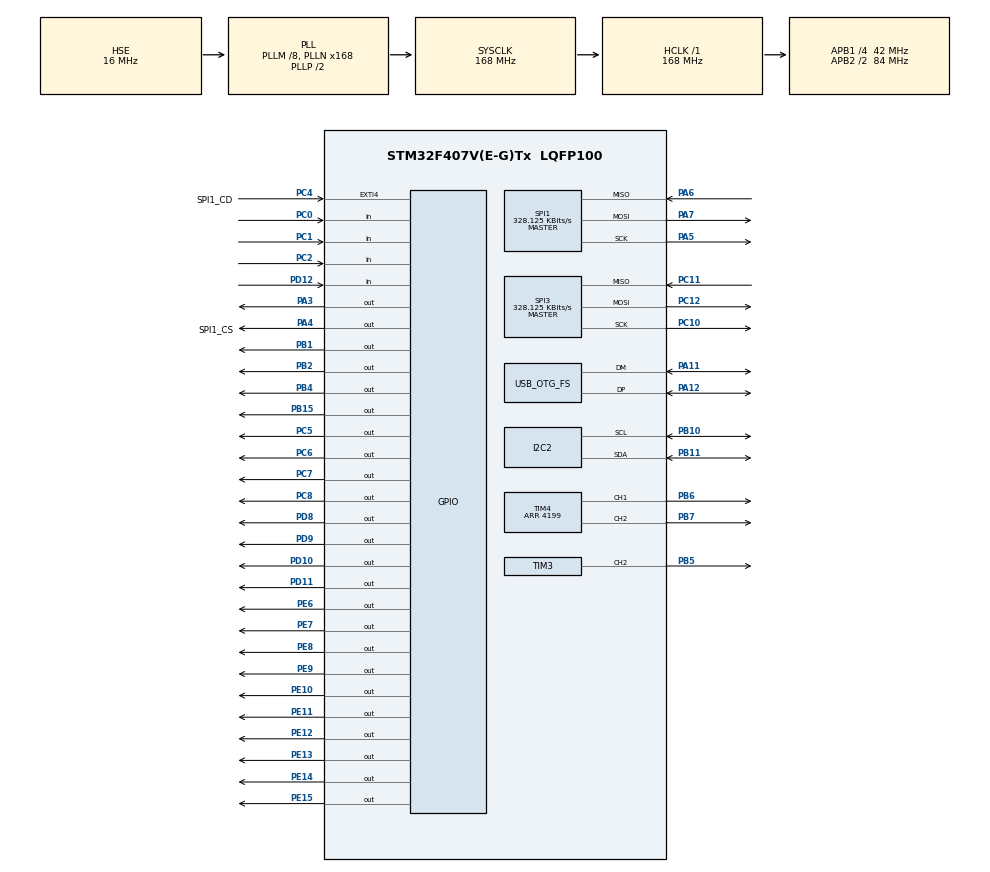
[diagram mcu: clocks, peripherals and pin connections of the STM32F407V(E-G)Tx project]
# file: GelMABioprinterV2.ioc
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FATFS._USE_LFN=1
Mcu.Family=STM32F4
Mcu.Name=STM32F407V(E-G)Tx
Mcu.Package=LQFP100
NVIC.OTG_FS_IRQn=true\:0\:0\:false\:false\:true\:false\:true\:true
NVIC.PriorityGroup=NVIC_PRIORITYGROUP_4
NVIC.TIM1_UP_TIM10_IRQn=true\:0\:0\:false\:false\:true\:true\:true\:true
PA11.Mode=Device_Only
PA11.Signal=USB_OTG_FS_DM
PA12.Mode=Device_Only
PA12.Signal=USB_OTG_FS_DP
PA13.Mode=Serial_Wire
PA13.Signal=SYS_JTMS-SWDIO
PA14.Mode=Serial_Wire
PA14.Signal=SYS_JTCK-SWCLK
PA3.GPIO_Speed=GPIO_SPEED_FREQ_LOW
PA3.Signal=GPIO_Output
PA4.GPIO_Label=SPI1_CS
PA4.GPIO_PuPd=GPIO_PULLUP
PA4.PinState=GPIO_PIN_SET
PA4.Signal=GPIO_Output
PA5.GPIO_PuPd=GPIO_PULLUP
PA5.Mode=Full_Duplex_Master
PA5.Signal=SPI1_SCK
PA6.GPIO_PuPd=GPIO_PULLUP
PA6.Mode=Full_Duplex_Master
PA6.Signal=SPI1_MISO
PA7.GPIO_PuPd=GPIO_PULLUP
PA7.Mode=Full_Duplex_Master
PA7.Signal=SPI1_MOSI
PB1.Signal=GPIO_Output
PB10.Mode=I2C
PB10.Signal=I2C2_SCL
PB11.Mode=I2C
PB11.Signal=I2C2_SDA
PB15.Signal=GPIO_Output
PB2.Signal=GPIO_Output
PB4.Signal=GPIO_Output
PB5.Signal=S_TIM3_CH2
PB6.Signal=S_TIM4_CH1
PB7.Signal=S_TIM4_CH2
PC0.GPIO_PuPd=GPIO_PULLUP
PC0.Signal=GPIO_Input
PC1.GPIO_PuPd=GPIO_PULLUP
PC1.Signal=GPIO_Input
PC10.Mode=Full_Duplex_Master
PC10.Signal=SPI3_SCK
PC11.Mode=Full_Duplex_Master
PC11.Signal=SPI3_MISO
PC12.Mode=Full_Duplex_Master
PC12.Signal=SPI3_MOSI
PC2.GPIO_PuPd=GPIO_PULLUP
PC2.Signal=GPIO_Input
PC4.GPIO_Label=SPI1_CD
PC4.GPIO_ModeDefaultEXTI=GPIO_MODE_IT_RISING_FALLING
PC4.GPIO_PuPd=GPIO_PULLUP
PC4.Signal=GPXTI4
PC5.Signal=GPIO_Output
PC6.PinState=GPIO_PIN_SET
PC6.Signal=GPIO_Output
PC7.PinState=GPIO_PIN_SET
PC7.Signal=GPIO_Output
PC8.Signal=GPIO_Output
PD10.Signal=GPIO_Output
PD11.Signal=GPIO_Output
PD12.GPIO_PuPd=GPIO_PULLUP
PD12.Signal=GPIO_Input
PD8.PinState=GPIO_PIN_SET
PD8.Signal=GPIO_Output
PD9.Signal=GPIO_Output
PE10.Signal=GPIO_Output
PE11.GPIO_Speed=GPIO_SPEED_FREQ_LOW
PE11.Signal=GPIO_Output
PE12.Signal=GPIO_Output
PE13.GPIO_Speed=GPIO_SPEED_FREQ_LOW
PE13.Signal=GPIO_Output
PE14.GPIO_Speed=GPIO_SPEED_FREQ_LOW
PE14.Signal=GPIO_Output
PE15.Signal=GPIO_Output
PE6.GPIO_PuPd=GPIO_NOPULL
PE6.PinState=GPIO_PIN_SET
PE6.Signal=GPIO_Output
PE7.PinState=GPIO_PIN_SET
PE7.Signal=GPIO_Output
PE8.Signal=GPIO_Output
PE9.GPIO_Speed=GPIO_SPEED_FREQ_LOW
PE9.Signal=GPIO_Output
PH0-OSC_IN.Mode=HSE-External-Oscillator
PH0-OSC_IN.Signal=RCC_OSC_IN
PH1-OSC_OUT.Mode=HSE-External-Oscillator
PH1-OSC_OUT.Signal=RCC_OSC_OUT
ProjectManager.HeapSize=0x200
ProjectManager.StackSize=0x400
ProjectManager.TargetToolchain=STM32CubeIDE
RCC.48MHZClocksFreq_Value=48000000
RCC.AHBFreq_Value=168000000
RCC.APB1CLKDivider=RCC_HCLK_DIV4
RCC.APB1Freq_Value=42000000
RCC.APB1TimFreq_Value=84000000
RCC.APB2CLKDivider=RCC_HCLK_DIV2
RCC.APB2Freq_Value=84000000
RCC.APB2TimFreq_Value=168000000
RCC.CortexFreq_Value=168000000
RCC.HCLKFreq_Value=168000000
RCC.HSE_VALUE=16000000
RCC.HSI_VALUE=16000000
RCC.LSE_VALUE=32768
RCC.PLLM=8
RCC.PLLN=168
RCC.PLLQ=7
RCC.SYSCLKFreq_VALUE=168000000
RCC.SYSCLKSource=RCC_SYSCLKSOURCE_PLLCLK
RCC.VCOOutputFreq_Value=336000000
SH.S_TIM3_CH2.0=TIM3_CH2,PWM Generation2 CH2
SH.S_TIM4_CH1.0=TIM4_CH1,PWM Generation1 CH1
SH.S_TIM4_CH2.0=TIM4_CH2,PWM Generation2 CH2
SPI1.BaudRatePrescaler=SPI_BAUDRATEPRESCALER_256
SPI1.CalculateBaudRate=328.125 KBits/s
SPI1.Direction=SPI_DIRECTION_2LINES
SPI1.Mode=SPI_MODE_MASTER
SPI1.VirtualType=VM_MASTER
SPI3.BaudRatePrescaler=SPI_BAUDRATEPRESCALER_128
SPI3.CalculateBaudRate=328.125 KBits/s
SPI3.Direction=SPI_DIRECTION_2LINES
SPI3.Mode=SPI_MODE_MASTER
SPI3.VirtualType=VM_MASTER
TIM1.Period=65535
TIM1.Prescaler=167
TIM2.Period=65535
TIM2.Prescaler=71
TIM3.AutoReloadPreload=TIM_AUTORELOAD_PRELOAD_ENABLE
TIM3.Channel-PWM\ Generation2\ CH2=TIM_CHANNEL_2
TIM3.Period=1999
TIM3.Prescaler=8399
TIM4.AutoReloadPreload=TIM_AUTORELOAD_PRELOAD_ENABLE
TIM4.Channel-PWM\ Generation1\ CH1=TIM_CHANNEL_1
TIM4.Channel-PWM\ Generation2\ CH2=TIM_CHANNEL_2
TIM4.Period=4199
TIM5.Prescaler=83
USB_DEVICE.CLASS_NAME_FS=CDC
USB_DEVICE.VirtualMode-CDC_FS=Cdc
USB_DEVICE.VirtualModeFS=Cdc_FS
USB_OTG_FS.VirtualMode=Device_Only
VP_FATFS_VS_Generic.Mode=User_defined
VP_TIM1_VS_ClockSourceINT.Mode=Internal
VP_TIM2_VS_ClockSourceINT.Mode=Internal
VP_TIM3_VS_ClockSourceINT.Mode=Internal
VP_TIM4_VS_ClockSourceINT.Mode=Internal
VP_TIM5_VS_ClockSourceINT.Mode=Internal
VP_USB_DEVICE_VS_USB_DEVICE_CDC_FS.Mode=CDC_FS
board=custom

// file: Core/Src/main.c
/* USER CODE BEGIN Header */
/**
  ******************************************************************************
  * @file           : main.c
  * @brief          : Main program body
  ******************************************************************************
  * @attention
  *
  * Copyright (c) 2025 STMicroelectronics.
  * All rights reserved.
  *
  * This software is licensed under terms that can be found in the LICENSE file
  * in the root directory of this software component.
  * If no LICENSE file comes with this software, it is provided AS-IS.
  *
  ******************************************************************************
  */
/* USER CODE END Header */
#include "main.h"
#include "fatfs.h"
#include "usb_device.h"

/* USER CODE BEGIN Includes */
#include <math.h>
#include "string.h"
#include <stdarg.h>
#include <stdio.h>
#include "usbd_def.h"
#include "usbd_cdc_if.h"
#include "system_pins.h"
#include "delay_us.h"
#include "stepper.h"
#include "mosfet.h"
/* USER CODE END Includes */

I2C_HandleTypeDef hi2c2;

SPI_HandleTypeDef hspi1;
SPI_HandleTypeDef hspi3;

TIM_HandleTypeDef htim1;
TIM_HandleTypeDef htim2;
TIM_HandleTypeDef htim3;
TIM_HandleTypeDef htim4;
TIM_HandleTypeDef htim5;

/* USER CODE BEGIN PV */

static float setNozTempCmd = 40.0f; // Nozzle set temperature
static float nozDutyCmd = 0.0f;

/* PID variables */
static float pid_Kp = 3.0f;
static float pid_Ki = 0.1f;
static float pid_Kd = 3.0f;

static float pid_integral = 0.0f;
static float pid_prevError = 0.0f;
static uint8_t pid_firstRun = 1;

static uint8_t oneTimeDone = 0;
static float tempsC[8] = {0};
//static uint8_t muxIndex = 0;
//static uint32_t lastTempKickMs = 0;
static uint32_t lastUsbTxMs = 0;
static uint32_t lastPwmUpdateMs = 0;

// SD card variables
static FATFS   s_fs;                   // filesystem object
static FIL     s_file;                 // open CSV
static uint8_t s_sdReady = 0;          // 0=not mounted/opened yet
static uint8_t s_headerSkipped = 0;
static uint32_t s_lastSDms = 0;        // throttle
static char    s_line[160];            // one CSV line buffer
static uint8_t s_havePendingLine = 0;
static char s_pendingLine[160];
uint8_t rx_buf[2];
uint8_t tx_buf[2] = {0x00, 0x00};   // dummy bytes to generate clock
char msg[100];
/* USER CODE END PV */

void SystemClock_Config(void);
static void MX_GPIO_Init(void);
static void MX_TIM1_Init(void);
static void MX_TIM2_Init(void);
static void MX_SPI1_Init(void);
static void MX_TIM3_Init(void);
static void MX_TIM4_Init(void);
static void MX_I2C2_Init(void);
static void MX_TIM5_Init(void);
static void MX_SPI3_Init(void);
/* USER CODE BEGIN PFP */
void Home(TIM_HandleTypeDef *htim_for_delay);
static void Task_Once_StorageInit(void);
static void USB_Printf(const char *fmt, ...);
static void Task_PIDandStreamUSB(void);
static void Task_ReadSD(void);
static void Task_UpdatePWMs(void);
uint16_t MAX6675_ReadRaw(void);
float MAX6675_ReadTemp(void);
void SystemTasks(void);
/* USER CODE END PFP */

int main(void)
{

  /* MCU Configuration--------------------------------------------------------*/

  /* Reset of all peripherals, Initializes the Flash interface and the Systick. */
  HAL_Init();

  /* Configure the system clock */
  SystemClock_Config();

  /* Initialize all configured peripherals */
  MX_GPIO_Init();
  MX_TIM1_Init();
  MX_USB_DEVICE_Init();
  MX_TIM2_Init();
  MX_SPI1_Init();
  MX_FATFS_Init();
  MX_TIM3_Init();
  MX_TIM4_Init();
  MX_I2C2_Init();
  MX_TIM5_Init();
  MX_SPI3_Init();
  /* USER CODE BEGIN 2 */
  HAL_GPIO_WritePin(PELTIER_GPIO_Port, PELTIER_GPIO_Pin, GPIO_PIN_SET); // Give the bed time to cool

  extern TIM_HandleTypeDef htim5;
  Home(&htim5);

  // Start the stepper ISR scheduler on TIM1
  Stepper_Init_TIM1();
  Stepper_ResetPosition(0,0,0,0);
  //Stepper_QueueAbs(135, 190.5, -98.5, 0, 30 );// The iteratively solved bed center
  //Stepper_QueueAbs(210, 270, -90, 0, 40 );
  //Stepper_QueueAbs(210, 270, -90, 10, 2 );
  //Stepper_QueueAbs(210,0,0,31,40);

  Mosfet_Init();
  HAL_GPIO_WritePin(PELTIER_GPIO_Port, PELTIER_GPIO_Pin, GPIO_PIN_SET); // Give the bed time to cool
  HAL_TIM_Base_Start(&htim2);
  /* USER CODE END 2 */

  /* Infinite loop */
  /* USER CODE BEGIN WHILE */
  //HAL_GPIO_WritePin(SSPORT, SSPIN, GPIO_PIN_SET);
  while (1)
  {
	SystemTasks();
    /* USER CODE END WHILE */

  }
}

void SystemClock_Config(void)
{
  RCC_OscInitTypeDef RCC_OscInitStruct = {0};
  RCC_ClkInitTypeDef RCC_ClkInitStruct = {0};

  /** Configure the main internal regulator output voltage
  */
  __HAL_RCC_PWR_CLK_ENABLE();
  __HAL_PWR_VOLTAGESCALING_CONFIG(PWR_REGULATOR_VOLTAGE_SCALE1);

  /** Initializes the RCC Oscillators according to the specified parameters
  * in the RCC_OscInitTypeDef structure.
  */
  RCC_OscInitStruct.OscillatorType = RCC_OSCILLATORTYPE_HSE;
  RCC_OscInitStruct.HSEState = RCC_HSE_ON;
  RCC_OscInitStruct.PLL.PLLState = RCC_PLL_ON;
  RCC_OscInitStruct.PLL.PLLSource = RCC_PLLSOURCE_HSE;
  RCC_OscInitStruct.PLL.PLLM = 8;
  RCC_OscInitStruct.PLL.PLLN = 168;
  RCC_OscInitStruct.PLL.PLLP = RCC_PLLP_DIV2;
  RCC_OscInitStruct.PLL.PLLQ = 7;
  if (HAL_RCC_OscConfig(&RCC_OscInitStruct) != HAL_OK)
  {
    Error_Handler();
  }

  /** Initializes the CPU, AHB and APB buses clocks
  */
  RCC_ClkInitStruct.ClockType = RCC_CLOCKTYPE_HCLK|RCC_CLOCKTYPE_SYSCLK
                              |RCC_CLOCKTYPE_PCLK1|RCC_CLOCKTYPE_PCLK2;
  RCC_ClkInitStruct.SYSCLKSource = RCC_SYSCLKSOURCE_PLLCLK;
  RCC_ClkInitStruct.AHBCLKDivider = RCC_SYSCLK_DIV1;
  RCC_ClkInitStruct.APB1CLKDivider = RCC_HCLK_DIV4;
  RCC_ClkInitStruct.APB2CLKDivider = RCC_HCLK_DIV2;

  if (HAL_RCC_ClockConfig(&RCC_ClkInitStruct, FLASH_LATENCY_5) != HAL_OK)
  {
    Error_Handler();
  }
}

static void MX_I2C2_Init(void)
{

  hi2c2.Instance = I2C2;
  hi2c2.Init.ClockSpeed = 100000;
  hi2c2.Init.DutyCycle = I2C_DUTYCYCLE_2;
  hi2c2.Init.OwnAddress1 = 0;
  hi2c2.Init.AddressingMode = I2C_ADDRESSINGMODE_7BIT;
  hi2c2.Init.DualAddressMode = I2C_DUALADDRESS_DISABLE;
  hi2c2.Init.OwnAddress2 = 0;
  hi2c2.Init.GeneralCallMode = I2C_GENERALCALL_DISABLE;
  hi2c2.Init.NoStretchMode = I2C_NOSTRETCH_DISABLE;
  if (HAL_I2C_Init(&hi2c2) != HAL_OK)
  {
    Error_Handler();
  }

}

static void MX_SPI1_Init(void)
{

  /* SPI1 parameter configuration*/
  hspi1.Instance = SPI1;
  hspi1.Init.Mode = SPI_MODE_MASTER;
  hspi1.Init.Direction = SPI_DIRECTION_2LINES;
  hspi1.Init.DataSize = SPI_DATASIZE_8BIT;
  hspi1.Init.CLKPolarity = SPI_POLARITY_LOW;
  hspi1.Init.CLKPhase = SPI_PHASE_1EDGE;
  hspi1.Init.NSS = SPI_NSS_SOFT;
  hspi1.Init.BaudRatePrescaler = SPI_BAUDRATEPRESCALER_256;
  hspi1.Init.FirstBit = SPI_FIRSTBIT_MSB;
  hspi1.Init.TIMode = SPI_TIMODE_DISABLE;
  hspi1.Init.CRCCalculation = SPI_CRCCALCULATION_DISABLE;
  hspi1.Init.CRCPolynomial = 10;
  if (HAL_SPI_Init(&hspi1) != HAL_OK)
  {
    Error_Handler();
  }

}

static void MX_SPI3_Init(void)
{

  /* SPI3 parameter configuration*/
  hspi3.Instance = SPI3;
  hspi3.Init.Mode = SPI_MODE_MASTER;
  hspi3.Init.Direction = SPI_DIRECTION_2LINES;
  hspi3.Init.DataSize = SPI_DATASIZE_8BIT;
  hspi3.Init.CLKPolarity = SPI_POLARITY_LOW;
  hspi3.Init.CLKPhase = SPI_PHASE_1EDGE;
  hspi3.Init.NSS = SPI_NSS_SOFT;
  hspi3.Init.BaudRatePrescaler = SPI_BAUDRATEPRESCALER_128;
  hspi3.Init.FirstBit = SPI_FIRSTBIT_MSB;
  hspi3.Init.TIMode = SPI_TIMODE_DISABLE;
  hspi3.Init.CRCCalculation = SPI_CRCCALCULATION_DISABLE;
  hspi3.Init.CRCPolynomial = 10;
  if (HAL_SPI_Init(&hspi3) != HAL_OK)
  {
    Error_Handler();
  }

}

static void MX_TIM1_Init(void)
{

  TIM_ClockConfigTypeDef sClockSourceConfig = {0};
  TIM_MasterConfigTypeDef sMasterConfig = {0};

  htim1.Instance = TIM1;
  htim1.Init.Prescaler = 167;
  htim1.Init.CounterMode = TIM_COUNTERMODE_UP;
  htim1.Init.Period = 65535;
  htim1.Init.ClockDivision = TIM_CLOCKDIVISION_DIV1;
  htim1.Init.RepetitionCounter = 0;
  htim1.Init.AutoReloadPreload = TIM_AUTORELOAD_PRELOAD_DISABLE;
  if (HAL_TIM_Base_Init(&htim1) != HAL_OK)
  {
    Error_Handler();
  }
  sClockSourceConfig.ClockSource = TIM_CLOCKSOURCE_INTERNAL;
  if (HAL_TIM_ConfigClockSource(&htim1, &sClockSourceConfig) != HAL_OK)
  {
    Error_Handler();
  }
  sMasterConfig.MasterOutputTrigger = TIM_TRGO_RESET;
  sMasterConfig.MasterSlaveMode = TIM_MASTERSLAVEMODE_DISABLE;
  if (HAL_TIMEx_MasterConfigSynchronization(&htim1, &sMasterConfig) != HAL_OK)
  {
    Error_Handler();
  }

}

static void MX_TIM2_Init(void)
{

  TIM_ClockConfigTypeDef sClockSourceConfig = {0};
  TIM_MasterConfigTypeDef sMasterConfig = {0};

  htim2.Instance = TIM2;
  htim2.Init.Prescaler = 71;
  htim2.Init.CounterMode = TIM_COUNTERMODE_UP;
  htim2.Init.Period = 65535;
  htim2.Init.ClockDivision = TIM_CLOCKDIVISION_DIV1;
  htim2.Init.AutoReloadPreload = TIM_AUTORELOAD_PRELOAD_DISABLE;
  if (HAL_TIM_Base_Init(&htim2) != HAL_OK)
  {
    Error_Handler();
  }
  sClockSourceConfig.ClockSource = TIM_CLOCKSOURCE_INTERNAL;
  if (HAL_TIM_ConfigClockSource(&htim2, &sClockSourceConfig) != HAL_OK)
  {
    Error_Handler();
  }
  sMasterConfig.MasterOutputTrigger = TIM_TRGO_RESET;
  sMasterConfig.MasterSlaveMode = TIM_MASTERSLAVEMODE_DISABLE;
  if (HAL_TIMEx_MasterConfigSynchronization(&htim2, &sMasterConfig) != HAL_OK)
  {
    Error_Handler();
  }

}

static void MX_TIM3_Init(void)
{

  TIM_ClockConfigTypeDef sClockSourceConfig = {0};
  TIM_MasterConfigTypeDef sMasterConfig = {0};
  TIM_OC_InitTypeDef sConfigOC = {0};

  htim3.Instance = TIM3;
  htim3.Init.Prescaler = 8399;
  htim3.Init.CounterMode = TIM_COUNTERMODE_UP;
  htim3.Init.Period = 1999;
  htim3.Init.ClockDivision = TIM_CLOCKDIVISION_DIV1;
  htim3.Init.AutoReloadPreload = TIM_AUTORELOAD_PRELOAD_ENABLE;
  if (HAL_TIM_Base_Init(&htim3) != HAL_OK)
  {
    Error_Handler();
  }
  sClockSourceConfig.ClockSource = TIM_CLOCKSOURCE_INTERNAL;
  if (HAL_TIM_ConfigClockSource(&htim3, &sClockSourceConfig) != HAL_OK)
  {
    Error_Handler();
  }
  if (HAL_TIM_PWM_Init(&htim3) != HAL_OK)
  {
    Error_Handler();
  }
  sMasterConfig.MasterOutputTrigger = TIM_TRGO_RESET;
  sMasterConfig.MasterSlaveMode = TIM_MASTERSLAVEMODE_DISABLE;
  if (HAL_TIMEx_MasterConfigSynchronization(&htim3, &sMasterConfig) != HAL_OK)
  {
    Error_Handler();
  }
  sConfigOC.OCMode = TIM_OCMODE_PWM1;
  sConfigOC.Pulse = 0;
  sConfigOC.OCPolarity = TIM_OCPOLARITY_HIGH;
  sConfigOC.OCFastMode = TIM_OCFAST_DISABLE;
  if (HAL_TIM_PWM_ConfigChannel(&htim3, &sConfigOC, TIM_CHANNEL_2) != HAL_OK)
  {
    Error_Handler();
  }
  HAL_TIM_MspPostInit(&htim3);

}

static void MX_TIM4_Init(void)
{

  TIM_ClockConfigTypeDef sClockSourceConfig = {0};
  TIM_MasterConfigTypeDef sMasterConfig = {0};
  TIM_OC_InitTypeDef sConfigOC = {0};

  htim4.Instance = TIM4;
  htim4.Init.Prescaler = 0;
  htim4.Init.CounterMode = TIM_COUNTERMODE_UP;
  htim4.Init.Period = 4199;
  htim4.Init.ClockDivision = TIM_CLOCKDIVISION_DIV1;
  htim4.Init.AutoReloadPreload = TIM_AUTORELOAD_PRELOAD_ENABLE;
  if (HAL_TIM_Base_Init(&htim4) != HAL_OK)
  {
    Error_Handler();
  }
  sClockSourceConfig.ClockSource = TIM_CLOCKSOURCE_INTERNAL;
  if (HAL_TIM_ConfigClockSource(&htim4, &sClockSourceConfig) != HAL_OK)
  {
    Error_Handler();
  }
  if (HAL_TIM_PWM_Init(&htim4) != HAL_OK)
  {
    Error_Handler();
  }
  sMasterConfig.MasterOutputTrigger = TIM_TRGO_RESET;
  sMasterConfig.MasterSlaveMode = TIM_MASTERSLAVEMODE_DISABLE;
  if (HAL_TIMEx_MasterConfigSynchronization(&htim4, &sMasterConfig) != HAL_OK)
  {
    Error_Handler();
  }
  sConfigOC.OCMode = TIM_OCMODE_PWM1;
  sConfigOC.Pulse = 0;
  sConfigOC.OCPolarity = TIM_OCPOLARITY_HIGH;
  sConfigOC.OCFastMode = TIM_OCFAST_DISABLE;
  if (HAL_TIM_PWM_ConfigChannel(&htim4, &sConfigOC, TIM_CHANNEL_1) != HAL_OK)
  {
    Error_Handler();
  }
  if (HAL_TIM_PWM_ConfigChannel(&htim4, &sConfigOC, TIM_CHANNEL_2) != HAL_OK)
  {
    Error_Handler();
  }
  HAL_TIM_MspPostInit(&htim4);

}

static void MX_TIM5_Init(void)
{

  TIM_ClockConfigTypeDef sClockSourceConfig = {0};
  TIM_MasterConfigTypeDef sMasterConfig = {0};

  htim5.Instance = TIM5;
  htim5.Init.Prescaler = 83;
  htim5.Init.CounterMode = TIM_COUNTERMODE_UP;
  htim5.Init.Period = 4294967295;
  htim5.Init.ClockDivision = TIM_CLOCKDIVISION_DIV1;
  htim5.Init.AutoReloadPreload = TIM_AUTORELOAD_PRELOAD_DISABLE;
  if (HAL_TIM_Base_Init(&htim5) != HAL_OK)
  {
    Error_Handler();
  }
  sClockSourceConfig.ClockSource = TIM_CLOCKSOURCE_INTERNAL;
  if (HAL_TIM_ConfigClockSource(&htim5, &sClockSourceConfig) != HAL_OK)
  {
    Error_Handler();
  }
  sMasterConfig.MasterOutputTrigger = TIM_TRGO_RESET;
  sMasterConfig.MasterSlaveMode = TIM_MASTERSLAVEMODE_DISABLE;
  if (HAL_TIMEx_MasterConfigSynchronization(&htim5, &sMasterConfig) != HAL_OK)
  {
    Error_Handler();
  }

}

static void MX_GPIO_Init(void)
{
  GPIO_InitTypeDef GPIO_InitStruct = {0};

  /* GPIO Ports Clock Enable */
  __HAL_RCC_GPIOE_CLK_ENABLE();
  __HAL_RCC_GPIOH_CLK_ENABLE();
  __HAL_RCC_GPIOC_CLK_ENABLE();
  __HAL_RCC_GPIOA_CLK_ENABLE();
  __HAL_RCC_GPIOB_CLK_ENABLE();
  __HAL_RCC_GPIOD_CLK_ENABLE();

  /*Configure GPIO pin Output Level */
  HAL_GPIO_WritePin(GPIOE, GPIO_PIN_6|GPIO_PIN_7, GPIO_PIN_SET);

  /*Configure GPIO pin Output Level */
  HAL_GPIO_WritePin(GPIOA, GPIO_PIN_3, GPIO_PIN_RESET);

  /*Configure GPIO pin Output Level */
  HAL_GPIO_WritePin(SPI1_CS_GPIO_Port, SPI1_CS_Pin, GPIO_PIN_SET);

  /*Configure GPIO pin Output Level */
  HAL_GPIO_WritePin(GPIOC, GPIO_PIN_5|GPIO_PIN_8, GPIO_PIN_RESET);

  /*Configure GPIO pin Output Level */
  HAL_GPIO_WritePin(GPIOB, GPIO_PIN_1|GPIO_PIN_2|GPIO_PIN_15|GPIO_PIN_4, GPIO_PIN_RESET);

  /*Configure GPIO pin Output Level */
  HAL_GPIO_WritePin(GPIOE, GPIO_PIN_8|GPIO_PIN_9|GPIO_PIN_10|GPIO_PIN_11
                          |GPIO_PIN_12|GPIO_PIN_13|GPIO_PIN_14|GPIO_PIN_15, GPIO_PIN_RESET);

  /*Configure GPIO pin Output Level */
  HAL_GPIO_WritePin(GPIOD, GPIO_PIN_8, GPIO_PIN_SET);

  /*Configure GPIO pin Output Level */
  HAL_GPIO_WritePin(GPIOD, GPIO_PIN_9|GPIO_PIN_10|GPIO_PIN_11, GPIO_PIN_RESET);

  /*Configure GPIO pin Output Level */
  HAL_GPIO_WritePin(GPIOC, GPIO_PIN_6|GPIO_PIN_7, GPIO_PIN_SET);

  /*Configure GPIO pins : PE6 PE7 PE8 PE9
                           PE10 PE11 PE12 PE13
                           PE14 PE15 */
  GPIO_InitStruct.Pin = GPIO_PIN_6|GPIO_PIN_7|GPIO_PIN_8|GPIO_PIN_9
                          |GPIO_PIN_10|GPIO_PIN_11|GPIO_PIN_12|GPIO_PIN_13
                          |GPIO_PIN_14|GPIO_PIN_15;
  GPIO_InitStruct.Mode = GPIO_MODE_OUTPUT_PP;
  GPIO_InitStruct.Pull = GPIO_NOPULL;
  GPIO_InitStruct.Speed = GPIO_SPEED_FREQ_LOW;
  HAL_GPIO_Init(GPIOE, &GPIO_InitStruct);

  /*Configure GPIO pins : PC0 PC1 PC2 */
  GPIO_InitStruct.Pin = GPIO_PIN_0|GPIO_PIN_1|GPIO_PIN_2;
  GPIO_InitStruct.Mode = GPIO_MODE_INPUT;
  GPIO_InitStruct.Pull = GPIO_PULLUP;
  HAL_GPIO_Init(GPIOC, &GPIO_InitStruct);

  /*Configure GPIO pin : PA3 */
  GPIO_InitStruct.Pin = GPIO_PIN_3;
  GPIO_InitStruct.Mode = GPIO_MODE_OUTPUT_PP;
  GPIO_InitStruct.Pull = GPIO_NOPULL;
  GPIO_InitStruct.Speed = GPIO_SPEED_FREQ_LOW;
  HAL_GPIO_Init(GPIOA, &GPIO_InitStruct);

  /*Configure GPIO pin : SPI1_CS_Pin */
  GPIO_InitStruct.Pin = SPI1_CS_Pin;
  GPIO_InitStruct.Mode = GPIO_MODE_OUTPUT_PP;
  GPIO_InitStruct.Pull = GPIO_PULLUP;
  GPIO_InitStruct.Speed = GPIO_SPEED_FREQ_LOW;
  HAL_GPIO_Init(SPI1_CS_GPIO_Port, &GPIO_InitStruct);

  /*Configure GPIO pin : SPI1_CD_Pin */
  GPIO_InitStruct.Pin = SPI1_CD_Pin;
  GPIO_InitStruct.Mode = GPIO_MODE_IT_RISING_FALLING;
  GPIO_InitStruct.Pull = GPIO_PULLUP;
  HAL_GPIO_Init(SPI1_CD_GPIO_Port, &GPIO_InitStruct);

  /*Configure GPIO pins : PC5 PC6 PC7 PC8 */
  GPIO_InitStruct.Pin = GPIO_PIN_5|GPIO_PIN_6|GPIO_PIN_7|GPIO_PIN_8;
  GPIO_InitStruct.Mode = GPIO_MODE_OUTPUT_PP;
  GPIO_InitStruct.Pull = GPIO_NOPULL;
  GPIO_InitStruct.Speed = GPIO_SPEED_FREQ_LOW;
  HAL_GPIO_Init(GPIOC, &GPIO_InitStruct);

  /*Configure GPIO pins : PB1 PB2 PB15 PB4 */
  GPIO_InitStruct.Pin = GPIO_PIN_1|GPIO_PIN_2|GPIO_PIN_15|GPIO_PIN_4;
  GPIO_InitStruct.Mode = GPIO_MODE_OUTPUT_PP;
  GPIO_InitStruct.Pull = GPIO_NOPULL;
  GPIO_InitStruct.Speed = GPIO_SPEED_FREQ_LOW;
  HAL_GPIO_Init(GPIOB, &GPIO_InitStruct);

  /*Configure GPIO pins : PD8 PD9 PD10 PD11 */
  GPIO_InitStruct.Pin = GPIO_PIN_8|GPIO_PIN_9|GPIO_PIN_10|GPIO_PIN_11;
  GPIO_InitStruct.Mode = GPIO_MODE_OUTPUT_PP;
  GPIO_InitStruct.Pull = GPIO_NOPULL;
  GPIO_InitStruct.Speed = GPIO_SPEED_FREQ_LOW;
  HAL_GPIO_Init(GPIOD, &GPIO_InitStruct);

  /*Configure GPIO pin : PD12 */
  GPIO_InitStruct.Pin = GPIO_PIN_12;
  GPIO_InitStruct.Mode = GPIO_MODE_INPUT;
  GPIO_InitStruct.Pull = GPIO_PULLUP;
  HAL_GPIO_Init(GPIOD, &GPIO_InitStruct);

}

/* USER CODE BEGIN 4 */
// Homing function
void Home(TIM_HandleTypeDef *htim_for_delay){
    const uint32_t pulse_high_us = 5;    // >1 µs is required by A4988 datasheet
    const uint32_t z_between_us  = 150;  // 16 Microsteps + TR8x8 lead screw => 16.13 mm/s
    const uint32_t y_between_us  = 1390; // 16 Microsteps + GT2 36T belt     => 16.13 mm/s
    const uint32_t x_between_us  = 770;  // 16 Microsteps + GT2 20T belt     => 16.13 mm/s

    delay_us_init(htim_for_delay); 						    // pass &htim from main.c
    HAL_GPIO_WritePin(EN_Port, EN_Pin, GPIO_PIN_RESET);     // Enable outputs (LOW = enabled)
    HAL_GPIO_WritePin(SLEEP_Port, SLEEP_Pin, GPIO_PIN_SET); //release reset (HIGH)
    HAL_GPIO_WritePin(RESET_Port, RESET_Pin, GPIO_PIN_SET); //Disable sleep (HIGH)

    // Microstep Settings
    HAL_GPIO_WritePin(M0_Port, M0_Pin, GPIO_PIN_SET);
    HAL_GPIO_WritePin(M1_Port, M1_Pin, GPIO_PIN_SET);
    HAL_GPIO_WritePin(M2_Port, M2_Pin, GPIO_PIN_SET);

    // Homing direction
    HAL_GPIO_WritePin(DIR_Z_Port, DIR_Z_Pin, GPIO_PIN_SET);
    HAL_GPIO_WritePin(DIR_Y_Port, DIR_Y_Pin, GPIO_PIN_SET);
    HAL_GPIO_WritePin(DIR_X_Port, DIR_X_Pin, GPIO_PIN_RESET);

    delay_us(10); // Delay for latency

    //Home Z axis
    while (HAL_GPIO_ReadPin(LIMIT_Z_Port, LIMIT_Z_Pin) == GPIO_PIN_SET) {
        HAL_GPIO_WritePin(STEP_Z_Port, STEP_Z_Pin, GPIO_PIN_SET);
        delay_us(pulse_high_us);
        HAL_GPIO_WritePin(STEP_Z_Port, STEP_Z_Pin, GPIO_PIN_RESET);
        delay_us(z_between_us);
    }

    //Home Y axis
    while (HAL_GPIO_ReadPin(LIMIT_Y_Port, LIMIT_Y_Pin) == GPIO_PIN_SET) {
        HAL_GPIO_WritePin(STEP_Y_Port, STEP_Y_Pin, GPIO_PIN_SET);
        delay_us(pulse_high_us);
        HAL_GPIO_WritePin(STEP_Y_Port, STEP_Y_Pin, GPIO_PIN_RESET);
        delay_us(y_between_us);
    }

    //Home X axis
    while (HAL_GPIO_ReadPin(LIMIT_X_Port, LIMIT_X_Pin) == GPIO_PIN_SET) {
        HAL_GPIO_WritePin(STEP_X_Port, STEP_X_Pin, GPIO_PIN_SET);
        delay_us(pulse_high_us);
        HAL_GPIO_WritePin(STEP_X_Port, STEP_X_Pin, GPIO_PIN_RESET);
        delay_us(x_between_us);
    }
}
static void Task_Once_StorageInit(void)
{
  if (oneTimeDone) return;
  FRESULT fr;

      if (!s_sdReady)
      {
          MX_FATFS_Init();

          HAL_Delay(500); // allow SD card power to stabilize

          fr = f_mount(&s_fs, "", 1);
          USB_Printf("f_mount result = %d\r\n", fr);

          if (fr == FR_OK)
          {
              fr = f_open(&s_file, "PrintTask.csv", FA_READ);

              USB_Printf("f_open result = %d\r\n", fr);

              if (fr == FR_OK)
              {
                  s_sdReady = 1;
                  s_headerSkipped = 0;

                  USB_Printf("SD card ready\r\n");
              }
              else
              {
                  USB_Printf("Failed to open CSV\r\n");
              }
          }
          else
          {
              USB_Printf("Failed to mount SD\r\n");
          }
      }
  oneTimeDone = 1;
}
static void Task_ReadSD(void)
{
  /* Read at 20 Hz */
  uint32_t now = HAL_GetTick();
  if ((now - s_lastSDms) < 50U) return;
  s_lastSDms = now;
  if (!s_sdReady) return;                 // not mounted/opened

  for (int tries = 0; tries < 2; ++tries)  // small chunk per call to stay snappy
  {
    /*TCHAR* res = f_gets(s_line, sizeof(s_line), &s_file);
    if (!res) {
      // f_lseek(&s_file, 0);
      // s_headerSkipped = 0;
      return;
    }*/
	  if (s_havePendingLine) {
	      strcpy(s_line, s_pendingLine);
	      s_havePendingLine = 0;
	  } else {
	      TCHAR* res = f_gets(s_line, sizeof(s_line), &s_file);
	      if (!res) {
	          return;
	      }
	  }
    /* Save the FULL line length BEFORE trimming — for correct rewind on queue-full */
    /* Trim leading spaces and optional UTF-8 BOM on the very first line */
    char *p = s_line;
    if (!s_headerSkipped && (unsigned char)p[0]==0xEF && (unsigned char)p[1]==0xBB && (unsigned char)p[2]==0xBF) {
      p += 3; // skip BOM
    }
    while (*p==' ' || *p=='\t') ++p;

    /* Skip blank lines / comments */
    if (*p=='\0' || *p=='\r' || *p=='\n' || *p=='#' || *p==';') continue;

    /* Skip header row once (starts with 'X' or 'x') */
    if (!s_headerSkipped) {
      s_headerSkipped = 1;
      if (p[0]=='X' || p[0]=='x') continue;
    }

    /* Parse CSV: X,Y,Z,Speed,E,Mode,NozzleTemp */
    float X=0, Y=0, Z=0, Speed=0, E=0, NozT=0;
    int   Mode=0;

    int n = sscanf(p, " %f , %f , %f , %f , %f , %d , %f",
                   &X,   &Y,   &Z,   &Speed, &E,   &Mode, &NozT);

    /* Require ALL 7 fields; anything else is malformed => skip safely */
    if (n != 7 || (Mode != 0 && Mode != 1)) {
      continue;
    }

    setNozTempCmd = NozT;  // stash latest temp command

    /* Queue the motion. If queue is full, rewind exactly the full line length. */
    bool ok = (Mode == 0)
      ? Stepper_QueueAbs(X, Y, Z, E, Speed)   // signature: (X,Y,Z,E,Speed)
      : Stepper_QueueRel(X, Y, Z, E, Speed);

    if (!ok) {
        strcpy(s_pendingLine, s_line);
        s_havePendingLine = 1;
        break;
    }
  }

}

static void USB_Printf(const char *fmt, ...)
{
  static char buf[512];
  va_list ap;
  va_start(ap, fmt);
  int n = vsnprintf(buf, sizeof(buf), fmt, ap);
  va_end(ap);
  if (n < 0) return;
  if (n >= (int)sizeof(buf)) n = (int)sizeof(buf) - 1;
  (void)CDC_Transmit_FS((uint8_t*)buf, (uint16_t)n);
}

static void Task_PIDandStreamUSB(void)
{
  uint32_t now = HAL_GetTick();

  if ((now - lastUsbTxMs) >= 1000U)   // 1 Hz PID loop
  {
    float dt = (now - lastUsbTxMs) / 1000.0f;
    if (dt <= 0.0f) dt = 1.0f;

    float temp = MAX6675_ReadTemp();

    if (temp < 0.0f)
    {
      nozDutyCmd = 0.0f;
      pid_integral = 0.0f;
      pid_prevError = 0.0f;
      pid_firstRun = 1;

      USB_Printf("Thermocouple open - heater OFF\r\n");
    }
    else
    {
      tempsC[0] = temp;

      /* If no valid setpoint, keep heater off */
      if (setNozTempCmd <= 0.0f)
      {
        nozDutyCmd = 0.0f;
        pid_integral = 0.0f;
        pid_prevError = 0.0f;
        pid_firstRun = 1;
      }
      else
      {
        float error = setNozTempCmd - temp;

        /* Safety cutoff: too hot */
        if (temp > setNozTempCmd + 20.0f)
        {
          nozDutyCmd = 0.0f;
          pid_integral = 0.0f;
        }
        else
        {
          float derivative = 0.0f;

          if (pid_firstRun)
          {
            derivative = 0.0f;
            pid_prevError = error;
            pid_firstRun = 0;
          }
          else
          {
            derivative = (error - pid_prevError) / dt;
          }

          /* Integral with basic anti-windup */
          pid_integral += error * dt;

          if (pid_integral > 200.0f) pid_integral = 200.0f;
          if (pid_integral < -200.0f) pid_integral = -200.0f;

          float output = (pid_Kp * error)
                       + (pid_Ki * pid_integral)
                       + (pid_Kd * derivative);

          if (output > 100.0f) output = 100.0f;
          if (output < 0.0f)   output = 0.0f;

          nozDutyCmd = output;
          pid_prevError = error;
        }
      }

      USB_Printf("Set=%.2f C, Temp=%.2f C, Duty=%.1f %%\r\n",
                 setNozTempCmd, temp, nozDutyCmd);
    }

    lastUsbTxMs = now;
  }
}

static void Task_UpdatePWMs(void)
{
  uint32_t now = HAL_GetTick();
  if ((now - lastPwmUpdateMs) >= 50U) {
    static uint16_t t = 0;
    t = (uint16_t)((t + 1) % 200);

    /* PB5 (TIM3_CH2): set heater to 50 Hz */
    float dutyA  = nozDutyCmd;

    /* PB6 (TIM4_CH1): turn on fan fully */
    float dutyB  = 100.0f;

    /* PB7 (TIM4_CH2): Curing light protocol */
    float phaseC = (float)t * 2.0f;                  // 0..398 (since t is 0..199)
    if (phaseC > 200.0f) phaseC = 400.0f - phaseC;   // fold to 0..200
    float dutyC  = (phaseC <= 100.0f) ? phaseC : (200.0f - phaseC);

    Mosfet_SetDuty(MOSFET_NOZZLE, dutyA);
    Mosfet_SetDuty(MOSFET_FAN,    dutyB);
    Mosfet_SetDuty(MOSFET_UV,     dutyC);

    lastPwmUpdateMs = now;
  }
}

uint16_t MAX6675_ReadRaw(void)
{
    uint16_t raw_data;

    HAL_GPIO_WritePin(GPIOE, GPIO_PIN_6, GPIO_PIN_RESET);   // CS low
    //HAL_Delay(1);

    HAL_SPI_TransmitReceive(&hspi3, tx_buf, rx_buf, 2, HAL_MAX_DELAY);

    HAL_GPIO_WritePin(GPIOE, GPIO_PIN_6, GPIO_PIN_SET);     // CS high

    raw_data = (rx_buf[0] << 8) | rx_buf[1];

    return raw_data;
}

float MAX6675_ReadTemp(void)
{
    uint16_t raw = MAX6675_ReadRaw();

    if (raw & 0x0004)   // thermocouple open
    {
        return -1.0f;
    }

    raw >>= 3;          // remove lower 3 bits

    return raw * 0.25f;
}

void SystemTasks(void)
{
  Task_Once_StorageInit();
  Task_ReadSD();
  //Task_SampleSensors();
  Task_PIDandStreamUSB();
  Task_UpdatePWMs();
}
/* USER CODE END 4 */

void Error_Handler(void)
{
  __disable_irq();
  while (1)
  {
  }
}
